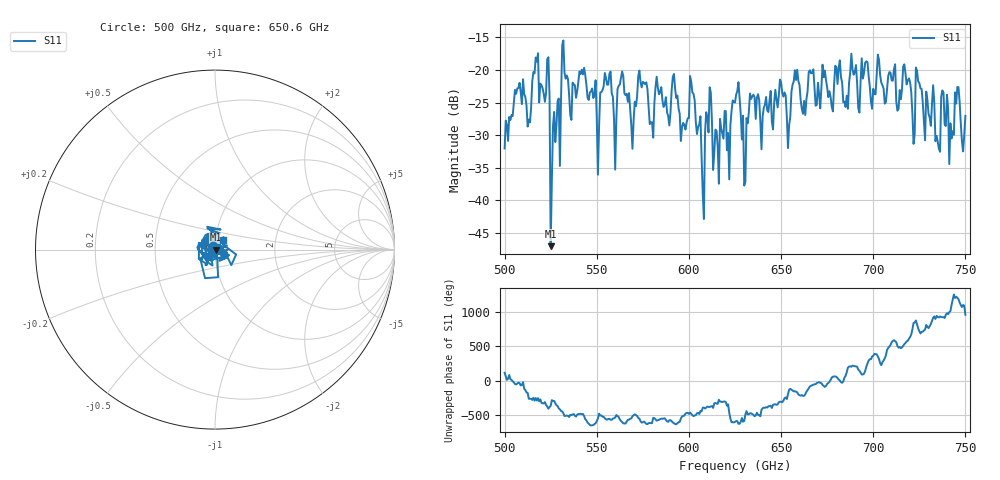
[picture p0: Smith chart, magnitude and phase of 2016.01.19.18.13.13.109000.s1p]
!Created with skrf (http://scikit-rf.org).
# GHz S RI R 50.0
!freq ReS11 ImS11
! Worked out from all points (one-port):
!   401 points, 500 GHz to 750 GHz, reference 50 ohm
!   lowest |S11| = -47.0 dB at 525 GHz (marker M1), VSWR 1.01, Z = 50.4 - j0.0213 ohm
!   |S11| at or under -10 dB: start of sweep to end of sweep
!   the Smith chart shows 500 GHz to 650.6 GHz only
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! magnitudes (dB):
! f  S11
! 500 GHz  -32.0
! 506.9 GHz  -22.8
! 513.1 GHz  -27.6
! 516.9 GHz  -18.1
! 523.1 GHz  -18.4
! 525 GHz  -47.0
! 531.2 GHz  -16.2
! 542.5 GHz  -20.7
! 551.2 GHz  -28.7
! 562.5 GHz  -22.2
! 569.4 GHz  -32.1
! 573.8 GHz  -21.9
! 579.4 GHz  -28.0
! 593.8 GHz  -23.9
! 596.9 GHz  -28.1
! 601.9 GHz  -23.4
! 607.5 GHz  -38.9
! 610.6 GHz  -29.6
! 615 GHz  -29.3
! 625 GHz  -25.0
! 630 GHz  -37.7
! 634.4 GHz  -24.0
! 656.2 GHz  -22.2
! 687.5 GHz  -20.4
! 718.8 GHz  -21.6
! 735 GHz  -31.0
! 745.6 GHz  -22.6
! 750 GHz  -27.0
